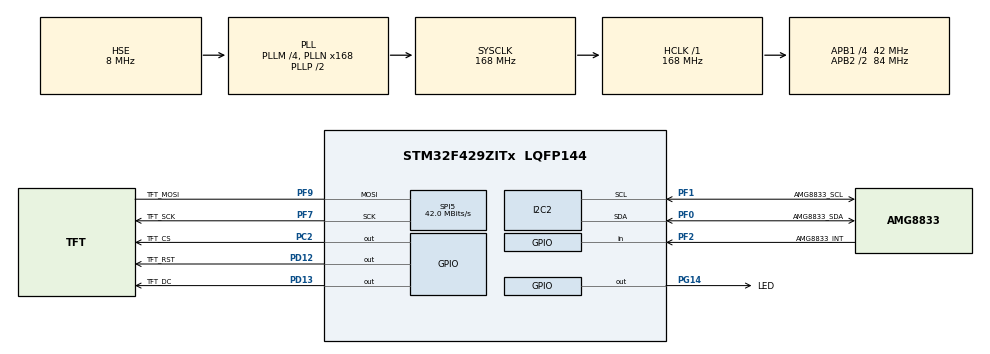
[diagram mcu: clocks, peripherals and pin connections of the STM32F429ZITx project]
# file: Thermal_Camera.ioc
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Mcu.Family=STM32F4
Mcu.Name=STM32F429ZITx
Mcu.Package=LQFP144
NVIC.PriorityGroup=NVIC_PRIORITYGROUP_4
PC14/OSC32_IN.Mode=LSE-External-Oscillator
PC14/OSC32_IN.Signal=RCC_OSC32_IN
PC15/OSC32_OUT.Mode=LSE-External-Oscillator
PC15/OSC32_OUT.Signal=RCC_OSC32_OUT
PC2.GPIO_Label=TFT_CS
PC2.Signal=GPIO_Output
PD12.GPIO_Label=TFT_RST
PD12.Signal=GPIO_Output
PD13.GPIO_Label=TFT_DC
PD13.Signal=GPIO_Output
PF0.GPIO_Label=AMG8833_SDA
PF0.Mode=I2C
PF0.Signal=I2C2_SDA
PF1.GPIO_Label=AMG8833_SCL
PF1.Mode=I2C
PF1.Signal=I2C2_SCL
PF2.GPIO_Label=AMG8833_INT
PF2.GPIO_PuPd=GPIO_PULLUP
PF2.Signal=GPIO_Input
PF7.GPIO_Label=TFT_SCK
PF7.Mode=Simplex_Bidirectional_Master
PF7.Signal=SPI5_SCK
PF9.GPIO_Label=TFT_MOSI
PF9.Mode=Simplex_Bidirectional_Master
PF9.Signal=SPI5_MOSI
PG14.GPIO_Label=LED
PG14.Signal=GPIO_Output
PH0/OSC_IN.Mode=HSE-External-Oscillator
PH0/OSC_IN.Signal=RCC_OSC_IN
PH1/OSC_OUT.Mode=HSE-External-Oscillator
PH1/OSC_OUT.Signal=RCC_OSC_OUT
ProjectManager.HeapSize=0x200
ProjectManager.StackSize=0x400
ProjectManager.TargetToolchain=STM32CubeIDE
RCC.48MHZClocksFreq_Value=84000000
RCC.AHBFreq_Value=168000000
RCC.APB1CLKDivider=RCC_HCLK_DIV4
RCC.APB1Freq_Value=42000000
RCC.APB1TimFreq_Value=84000000
RCC.APB2CLKDivider=RCC_HCLK_DIV2
RCC.APB2Freq_Value=84000000
RCC.APB2TimFreq_Value=168000000
RCC.CortexFreq_Value=168000000
RCC.HCLKFreq_Value=168000000
RCC.HSE_VALUE=8000000
RCC.HSI_VALUE=16000000
RCC.PLLM=4
RCC.PLLN=168
RCC.PLLSourceVirtual=RCC_PLLSOURCE_HSE
RCC.SYSCLKFreq_VALUE=168000000
RCC.SYSCLKSource=RCC_SYSCLKSOURCE_PLLCLK
RCC.VCOOutputFreq_Value=336000000
SPI5.CalculateBaudRate=42.0 MBits/s
SPI5.Direction=SPI_DIRECTION_1LINE
SPI5.Mode=SPI_MODE_MASTER
SPI5.VirtualType=VM_MASTER
board=custom

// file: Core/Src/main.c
/* USER CODE BEGIN Header */
/**
  ******************************************************************************
  * @file           : main.c
  * @brief          : Main program body
  ******************************************************************************
  * @attention
  *
  * Copyright (c) 2021 STMicroelectronics.
  * All rights reserved.
  *
  * This software is licensed under terms that can be found in the LICENSE file
  * in the root directory of this software component.
  * If no LICENSE file comes with this software, it is provided AS-IS.
  *
  ******************************************************************************
  */
/* USER CODE END Header */
#include "main.h"
#include "ILI9341.h"
#include "AMG8833.h"

I2C_HandleTypeDef hi2c2;

SPI_HandleTypeDef hspi5;

/* USER CODE BEGIN PV */

extern uint16_t MAX_X;
extern uint16_t MAX_Y;

/* USER CODE END PV */

void SystemClock_Config(void);
static void MX_GPIO_Init(void);
static void MX_I2C2_Init(void);
static void MX_SPI5_Init(void);
/* USER CODE BEGIN PFP */
void draw_flag()
{
    Draw_Rectangle(0, 0, 319, 239, YES, SQUARE, Green, Green);
    Draw_Circle(150, 120, 60, YES, Red);
}
/* USER CODE END PFP */

int main(void)
{
  /* USER CODE BEGIN 1 */
   uint8_t i = 0;
   uint8_t j = 0;
   uint16_t col = 0;

   int16_t T_max = 0;
   int16_t T_min = 125;

   float therm = 0;

   int16_t temp_array_i[AMG8833_PIXEL_COUNT] = {0};

  /* USER CODE END 1 */
  /* MCU Configuration--------------------------------------------------------*/

  /* Reset of all peripherals, Initializes the Flash interface and the Systick. */
  HAL_Init();

  /* Configure the system clock */
  SystemClock_Config();

  /* Initialize all configured peripherals */
  MX_GPIO_Init();
  MX_I2C2_Init();
  MX_SPI5_Init();
  /* USER CODE BEGIN 2 */
  TFT_init();
  AMG8833_init();
  TFT_fill(Black);
  /* USER CODE END 2 */

  Draw_Rectangle(210, 30, 220, 39, YES, SQUARE, Purple, Purple);
  Draw_Rectangle(210, 40, 220, 49, YES, SQUARE, Blue, Blue);
  Draw_Rectangle(210, 50, 220, 59, YES, SQUARE, Light_Blue, Light_Blue);
  Draw_Rectangle(210, 60, 220, 69, YES, SQUARE, Cyan, Cyan);
  Draw_Rectangle(210, 70, 220, 79, YES, SQUARE, Green, Green);
  Draw_Rectangle(210, 80, 220, 89, YES, SQUARE, Yellow, Yellow);
  Draw_Rectangle(210, 90, 220, 99, YES, SQUARE, Orange, Orange);
  Draw_Rectangle(210, 100, 220, 109, YES, SQUARE, Red, Red);

  print_str(215, 0, 1, White, Black, "AMG8833 FLIR Demo");
  print_str(225, 30, 1, White, Black, "< 10");
  print_str(225, 40, 1, White, Black, "15");
  print_str(225, 50, 1, White, Black, "20");
  print_str(225, 60, 1, White, Black, "25");
  print_str(225, 70, 1, White, Black, "30");
  print_str(225, 80, 1, White, Black, "35");
  print_str(225, 90, 1, White, Black, "40");
  print_str(225, 100, 1, White, Black, "> 45");

  print_str(210, 160, 1, White, Black, "T. Thm./'C:");
  print_str(210, 170, 1, White, Black, "T. Max./'C:");
  print_str(210, 180, 1, White, Black, "T. Min./'C:");

  /* Infinite loop */
  while (1)
  {
	  if(HAL_GPIO_ReadPin(AMG8833_INT_GPIO_Port, AMG8833_INT_Pin))
	  {
		  HAL_GPIO_WritePin(LED_GPIO_Port, LED_Pin, SET);
	  }
	  else
	  {
		  HAL_GPIO_WritePin(LED_GPIO_Port, LED_Pin, RESET);
	  }

	  T_max = 0;
	  T_min = 125;

	  AMG8833_read_pixel_temperature_register_value(temp_array_i);

	  therm = AMG8833_get_temperature();

	  print_F(280, 160, 1, White, Black, therm, 2);

	  for(i = 0; i < 8; i++)
	  {
		  for(j = 0; j < 8; j++)
		  {

			  if(temp_array_i[j + (i * 8)] < 10)
			  {
				  col = Purple;
			  }

			  else if((temp_array_i[j + (i * 8)] >= 10) && (temp_array_i[j + (i * 8)] < 15))
			  {
				  col = Blue;
			  }

			  else if((temp_array_i[j + (i * 8)] >= 15) && (temp_array_i[j + (i * 8)] < 20))
			  {
				  col = Light_Blue;
			  }

			  else if((temp_array_i[j + (i * 8)] >= 20) && (temp_array_i[j + (i * 8)] < 25))
			  {
				  col = Cyan;
			  }

			  else if((temp_array_i[j + (i * 8)] >= 25) && (temp_array_i[j + (i * 8)] < 30))
			  {
				  col = Green;
			  }

			  else if((temp_array_i[j + (i * 8)] >= 30) && (temp_array_i[j + (i * 8)] < 35))
			  {
				  col = Yellow;
			  }

			  else if((temp_array_i[j + (i * 8)] >= 35) && (temp_array_i[j + (i * 8)] < 40))
			  {
				  col = Green;
			  }

			  else
			  {
				  col = Red;
			  }

			  if(temp_array_i[j + (i * 8)] < T_min)
			  {
				  T_min = temp_array_i[j + (i * 8)];
			  }

			  if(temp_array_i[j + (i * 8)] > T_max)
			  {
				  T_max = temp_array_i[j + (i * 8)];
			  }

			  TFT_fill_area((25 * j), (25 * i), ((25 * j) + 24), ((25 * i) + 24), col);
		  }
	  }

	  print_I(280, 170, 1, White, Black, T_max);
	  print_I(280, 180, 1, White, Black, T_min);

  }
}

void SystemClock_Config(void)
{
  RCC_OscInitTypeDef RCC_OscInitStruct = {0};
  RCC_ClkInitTypeDef RCC_ClkInitStruct = {0};

  /** Configure the main internal regulator output voltage
  */
  __HAL_RCC_PWR_CLK_ENABLE();
  __HAL_PWR_VOLTAGESCALING_CONFIG(PWR_REGULATOR_VOLTAGE_SCALE1);
  /** Initializes the RCC Oscillators according to the specified parameters
  * in the RCC_OscInitTypeDef structure.
  */
  RCC_OscInitStruct.OscillatorType = RCC_OSCILLATORTYPE_HSE;
  RCC_OscInitStruct.HSEState = RCC_HSE_ON;
  RCC_OscInitStruct.PLL.PLLState = RCC_PLL_ON;
  RCC_OscInitStruct.PLL.PLLSource = RCC_PLLSOURCE_HSE;
  RCC_OscInitStruct.PLL.PLLM = 4;
  RCC_OscInitStruct.PLL.PLLN = 168;
  RCC_OscInitStruct.PLL.PLLP = RCC_PLLP_DIV2;
  RCC_OscInitStruct.PLL.PLLQ = 4;
  if (HAL_RCC_OscConfig(&RCC_OscInitStruct) != HAL_OK)
  {
    Error_Handler();
  }
  /** Initializes the CPU, AHB and APB buses clocks
  */
  RCC_ClkInitStruct.ClockType = RCC_CLOCKTYPE_HCLK|RCC_CLOCKTYPE_SYSCLK
                              |RCC_CLOCKTYPE_PCLK1|RCC_CLOCKTYPE_PCLK2;
  RCC_ClkInitStruct.SYSCLKSource = RCC_SYSCLKSOURCE_PLLCLK;
  RCC_ClkInitStruct.AHBCLKDivider = RCC_SYSCLK_DIV1;
  RCC_ClkInitStruct.APB1CLKDivider = RCC_HCLK_DIV4;
  RCC_ClkInitStruct.APB2CLKDivider = RCC_HCLK_DIV2;

  if (HAL_RCC_ClockConfig(&RCC_ClkInitStruct, FLASH_LATENCY_5) != HAL_OK)
  {
    Error_Handler();
  }
}

static void MX_I2C2_Init(void)
{

  hi2c2.Instance = I2C2;
  hi2c2.Init.ClockSpeed = 100000;
  hi2c2.Init.DutyCycle = I2C_DUTYCYCLE_2;
  hi2c2.Init.OwnAddress1 = 0;
  hi2c2.Init.AddressingMode = I2C_ADDRESSINGMODE_7BIT;
  hi2c2.Init.DualAddressMode = I2C_DUALADDRESS_DISABLE;
  hi2c2.Init.OwnAddress2 = 0;
  hi2c2.Init.GeneralCallMode = I2C_GENERALCALL_DISABLE;
  hi2c2.Init.NoStretchMode = I2C_NOSTRETCH_DISABLE;
  if (HAL_I2C_Init(&hi2c2) != HAL_OK)
  {
    Error_Handler();
  }
  /** Configure Analogue filter
  */
  if (HAL_I2CEx_ConfigAnalogFilter(&hi2c2, I2C_ANALOGFILTER_ENABLE) != HAL_OK)
  {
    Error_Handler();
  }
  /** Configure Digital filter
  */
  if (HAL_I2CEx_ConfigDigitalFilter(&hi2c2, 0) != HAL_OK)
  {
    Error_Handler();
  }

}

static void MX_SPI5_Init(void)
{

  /* SPI5 parameter configuration*/
  hspi5.Instance = SPI5;
  hspi5.Init.Mode = SPI_MODE_MASTER;
  hspi5.Init.Direction = SPI_DIRECTION_1LINE;
  hspi5.Init.DataSize = SPI_DATASIZE_8BIT;
  hspi5.Init.CLKPolarity = SPI_POLARITY_LOW;
  hspi5.Init.CLKPhase = SPI_PHASE_1EDGE;
  hspi5.Init.NSS = SPI_NSS_SOFT;
  hspi5.Init.BaudRatePrescaler = SPI_BAUDRATEPRESCALER_2;
  hspi5.Init.FirstBit = SPI_FIRSTBIT_MSB;
  hspi5.Init.TIMode = SPI_TIMODE_DISABLE;
  hspi5.Init.CRCCalculation = SPI_CRCCALCULATION_DISABLE;
  hspi5.Init.CRCPolynomial = 10;
  if (HAL_SPI_Init(&hspi5) != HAL_OK)
  {
    Error_Handler();
  }

}

static void MX_GPIO_Init(void)
{
  GPIO_InitTypeDef GPIO_InitStruct = {0};

  /* GPIO Ports Clock Enable */
  __HAL_RCC_GPIOC_CLK_ENABLE();
  __HAL_RCC_GPIOF_CLK_ENABLE();
  __HAL_RCC_GPIOH_CLK_ENABLE();
  __HAL_RCC_GPIOD_CLK_ENABLE();
  __HAL_RCC_GPIOG_CLK_ENABLE();

  /*Configure GPIO pin Output Level */
  HAL_GPIO_WritePin(TFT_CS_GPIO_Port, TFT_CS_Pin, GPIO_PIN_RESET);

  /*Configure GPIO pin Output Level */
  HAL_GPIO_WritePin(GPIOD, TFT_RST_Pin|TFT_DC_Pin, GPIO_PIN_RESET);

  /*Configure GPIO pin Output Level */
  HAL_GPIO_WritePin(LED_GPIO_Port, LED_Pin, GPIO_PIN_RESET);

  /*Configure GPIO pin : AMG8833_INT_Pin */
  GPIO_InitStruct.Pin = AMG8833_INT_Pin;
  GPIO_InitStruct.Mode = GPIO_MODE_INPUT;
  GPIO_InitStruct.Pull = GPIO_PULLUP;
  HAL_GPIO_Init(AMG8833_INT_GPIO_Port, &GPIO_InitStruct);

  /*Configure GPIO pin : TFT_CS_Pin */
  GPIO_InitStruct.Pin = TFT_CS_Pin;
  GPIO_InitStruct.Mode = GPIO_MODE_OUTPUT_PP;
  GPIO_InitStruct.Pull = GPIO_NOPULL;
  GPIO_InitStruct.Speed = GPIO_SPEED_FREQ_LOW;
  HAL_GPIO_Init(TFT_CS_GPIO_Port, &GPIO_InitStruct);

  /*Configure GPIO pins : TFT_RST_Pin TFT_DC_Pin */
  GPIO_InitStruct.Pin = TFT_RST_Pin|TFT_DC_Pin;
  GPIO_InitStruct.Mode = GPIO_MODE_OUTPUT_PP;
  GPIO_InitStruct.Pull = GPIO_NOPULL;
  GPIO_InitStruct.Speed = GPIO_SPEED_FREQ_LOW;
  HAL_GPIO_Init(GPIOD, &GPIO_InitStruct);

  /*Configure GPIO pin : LED_Pin */
  GPIO_InitStruct.Pin = LED_Pin;
  GPIO_InitStruct.Mode = GPIO_MODE_OUTPUT_PP;
  GPIO_InitStruct.Pull = GPIO_NOPULL;
  GPIO_InitStruct.Speed = GPIO_SPEED_FREQ_LOW;
  HAL_GPIO_Init(LED_GPIO_Port, &GPIO_InitStruct);

}

void Error_Handler(void)
{
  __disable_irq();
  while (1)
  {
  }
}
